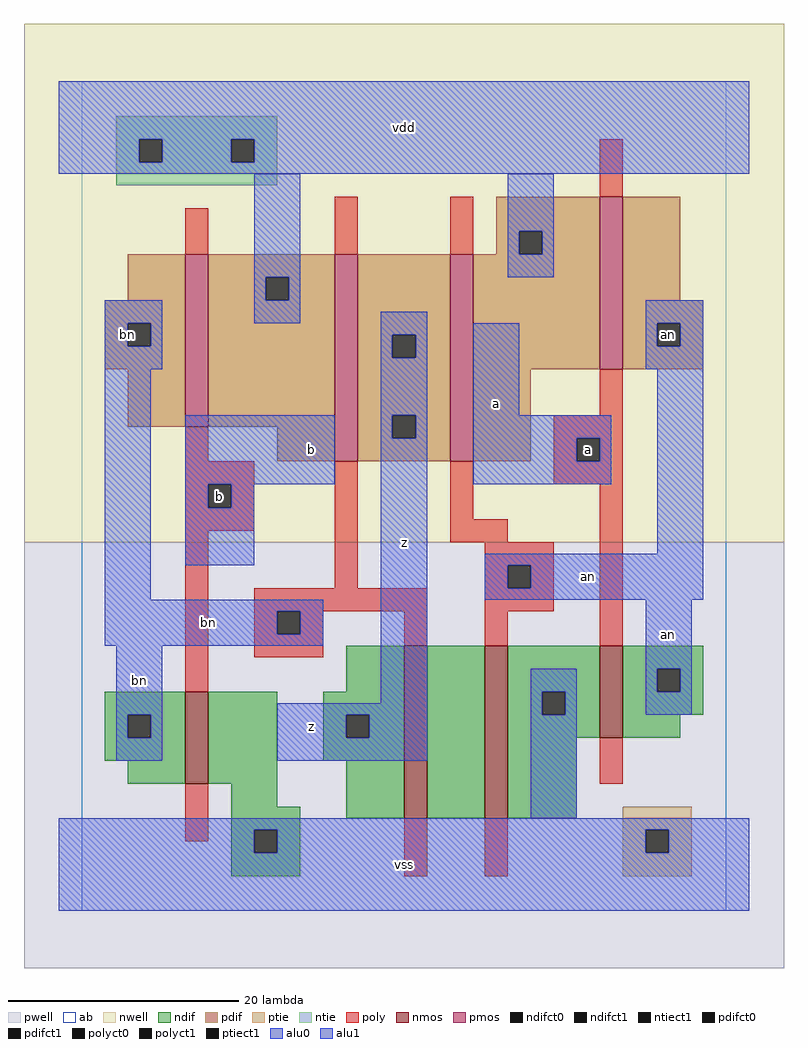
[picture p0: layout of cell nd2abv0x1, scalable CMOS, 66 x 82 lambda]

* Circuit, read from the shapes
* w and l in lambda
.subckt nd2abv0x1 a an b bn vdd vss z
M1 vss b bn vss nfet w=8 l=2
M2 n1 bn z vss nfet w=15 l=2
M3 vss an n1 vss nfet w=15 l=2
M4 an a vss vss nfet w=8 l=2
M5 vdd b bn vdd pfet w=15 l=2
M6 z bn vdd vdd pfet w=18 l=2
M7 vdd an z vdd pfet w=18 l=2
M8 an a vdd vdd pfet w=15 l=2
.ends

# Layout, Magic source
magic
tech scmos
<< ab >>
rect 0 0 56 72
<< nwell >>
rect -5 32 61 77
<< pwell >>
rect -5 -5 61 32
<< poly >>
rect 45 62 47 67
rect 9 57 11 61
rect 22 57 24 62
rect 32 57 34 62
rect 9 39 11 42
rect 45 43 47 47
rect 41 41 47 43
rect 41 39 43 41
rect 45 39 47 41
rect 9 37 15 39
rect 9 35 11 37
rect 13 35 15 37
rect 9 33 15 35
rect 9 19 11 33
rect 22 28 24 39
rect 32 34 34 39
rect 41 37 47 39
rect 32 32 37 34
rect 35 30 41 32
rect 35 28 37 30
rect 39 28 41 30
rect 15 26 30 28
rect 15 24 17 26
rect 19 24 21 26
rect 15 22 21 24
rect 28 23 30 26
rect 35 26 41 28
rect 35 23 37 26
rect 45 23 47 37
rect 9 6 11 11
rect 45 11 47 15
rect 28 3 30 8
rect 35 3 37 8
<< ndif >>
rect 23 19 28 23
rect 2 17 9 19
rect 2 15 4 17
rect 6 15 9 17
rect 2 13 9 15
rect 4 11 9 13
rect 11 11 17 19
rect 21 17 28 19
rect 21 15 23 17
rect 25 15 28 17
rect 21 13 28 15
rect 13 9 17 11
rect 13 7 19 9
rect 23 8 28 13
rect 30 8 35 23
rect 37 19 45 23
rect 37 17 40 19
rect 42 17 45 19
rect 37 15 45 17
rect 47 21 54 23
rect 47 19 50 21
rect 52 19 54 21
rect 47 17 54 19
rect 47 15 52 17
rect 37 8 43 15
rect 13 5 15 7
rect 17 5 19 7
rect 13 3 19 5
<< pdif >>
rect 36 59 45 62
rect 36 57 38 59
rect 40 57 45 59
rect 4 53 9 57
rect 2 51 9 53
rect 2 49 4 51
rect 6 49 9 51
rect 2 47 9 49
rect 4 42 9 47
rect 11 55 22 57
rect 11 53 16 55
rect 18 53 22 55
rect 11 42 22 53
rect 17 39 22 42
rect 24 50 32 57
rect 24 48 27 50
rect 29 48 32 50
rect 24 43 32 48
rect 24 41 27 43
rect 29 41 32 43
rect 24 39 32 41
rect 34 47 45 57
rect 47 53 52 62
rect 47 51 54 53
rect 47 49 50 51
rect 52 49 54 51
rect 47 47 54 49
rect 34 39 39 47
<< alu1 >>
rect -2 67 58 72
rect -2 65 5 67
rect 7 65 13 67
rect 15 65 58 67
rect -2 64 58 65
rect 26 50 30 52
rect 26 48 27 50
rect 29 48 30 50
rect 26 43 30 48
rect 9 37 22 43
rect 26 41 27 43
rect 29 41 30 43
rect 9 35 11 37
rect 13 35 15 37
rect 9 30 15 35
rect 26 18 30 41
rect 34 43 38 51
rect 34 41 46 43
rect 34 39 43 41
rect 45 39 46 41
rect 34 37 46 39
rect 17 17 30 18
rect 17 15 23 17
rect 25 15 30 17
rect 17 13 30 15
rect -2 7 58 8
rect -2 5 15 7
rect 17 5 49 7
rect 51 5 58 7
rect -2 0 58 5
<< ptie >>
rect 47 7 53 9
rect 47 5 49 7
rect 51 5 53 7
rect 47 3 53 5
<< ntie >>
rect 3 67 17 69
rect 3 65 5 67
rect 7 65 13 67
rect 15 65 17 67
rect 3 63 17 65
<< nmos >>
rect 9 11 11 19
rect 28 8 30 23
rect 35 8 37 23
rect 45 15 47 23
<< pmos >>
rect 9 42 11 57
rect 22 39 24 57
rect 32 39 34 57
rect 45 47 47 62
<< polyct0 >>
rect 37 28 39 30
rect 17 24 19 26
<< polyct1 >>
rect 43 39 45 41
rect 11 35 13 37
<< ndifct0 >>
rect 4 15 6 17
rect 40 17 42 19
rect 50 19 52 21
<< ndifct1 >>
rect 23 15 25 17
rect 15 5 17 7
<< ntiect1 >>
rect 5 65 7 67
rect 13 65 15 67
<< ptiect1 >>
rect 49 5 51 7
<< pdifct0 >>
rect 38 57 40 59
rect 4 49 6 51
rect 16 53 18 55
rect 50 49 52 51
<< pdifct1 >>
rect 27 48 29 50
rect 27 41 29 43
<< alu0 >>
rect 15 55 19 64
rect 37 59 41 64
rect 37 57 38 59
rect 40 57 41 59
rect 37 55 41 57
rect 15 53 16 55
rect 18 53 19 55
rect 2 51 7 53
rect 15 51 19 53
rect 2 49 4 51
rect 6 49 7 51
rect 2 47 7 49
rect 49 51 54 53
rect 2 27 6 47
rect 2 26 21 27
rect 2 24 17 26
rect 19 24 21 26
rect 2 23 21 24
rect 3 17 7 23
rect 49 49 50 51
rect 52 49 54 51
rect 49 47 54 49
rect 50 31 54 47
rect 35 30 54 31
rect 35 28 37 30
rect 39 28 54 30
rect 35 27 54 28
rect 49 21 53 27
rect 3 15 4 17
rect 6 15 7 17
rect 3 13 7 15
rect 39 19 43 21
rect 39 17 40 19
rect 42 17 43 19
rect 49 19 50 21
rect 52 19 53 21
rect 49 17 53 19
rect 39 8 43 17
<< labels >>
rlabel alu0 5 20 5 20 6 bn
rlabel alu0 4 50 4 50 6 bn
rlabel alu0 11 25 11 25 6 bn
rlabel alu0 51 24 51 24 6 an
rlabel alu0 44 29 44 29 6 an
rlabel pdifct0 51 50 51 50 6 an
rlabel alu1 20 16 20 16 6 z
rlabel alu1 20 40 20 40 6 b
rlabel polyct1 12 36 12 36 6 b
rlabel alu1 28 4 28 4 6 vss
rlabel alu1 28 32 28 32 6 z
rlabel alu1 36 44 36 44 6 a
rlabel alu1 28 68 28 68 6 vdd
rlabel polyct1 44 40 44 40 6 a
<< end >>
